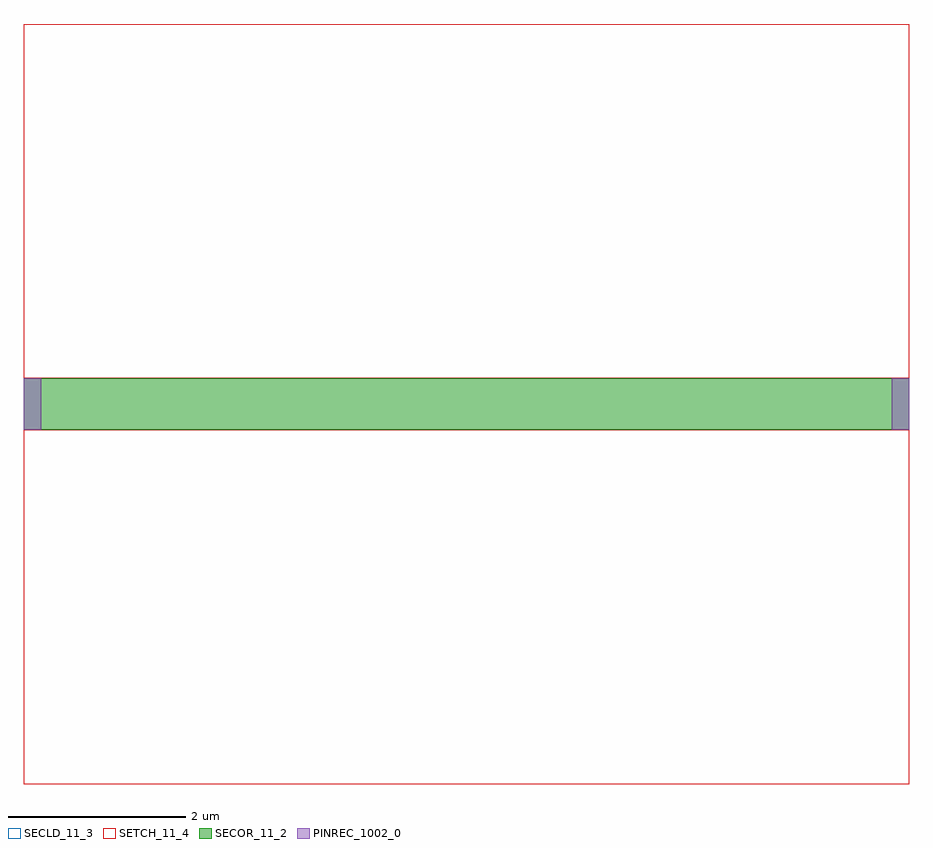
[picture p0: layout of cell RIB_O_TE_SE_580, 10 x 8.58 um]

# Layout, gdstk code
import gdstk
lib = gdstk.Library(unit=1e-6, precision=1e-09)
def R(c, l, rs):  # rectangles x0, y0, x1, y1
    for r in rs: c.add(gdstk.rectangle(r[:2], r[2:], *l))
SECOR_11_2 = (11, 2)
SECLD_11_3 = (11, 3)
SETCH_11_4 = (11, 4)
PINREC_1002_0 = (1002, 0)

rib_o_te_se_580 = lib.new_cell('RIB_O_TE_SE_580')
R(rib_o_te_se_580, SECOR_11_2, [(0,0,10,0.58)])
R(rib_o_te_se_580, SECLD_11_3, [(0,-4,10,4.58)])
R(rib_o_te_se_580, SETCH_11_4, [(0,-4,10,0), (0,0.58,10,4.58)])
R(rib_o_te_se_580, PINREC_1002_0, [(0,0,0.2,0.58), (9.8,0,10,0.58)])

lib.write_gds('RIB_O_TE_SE_580.gds')
